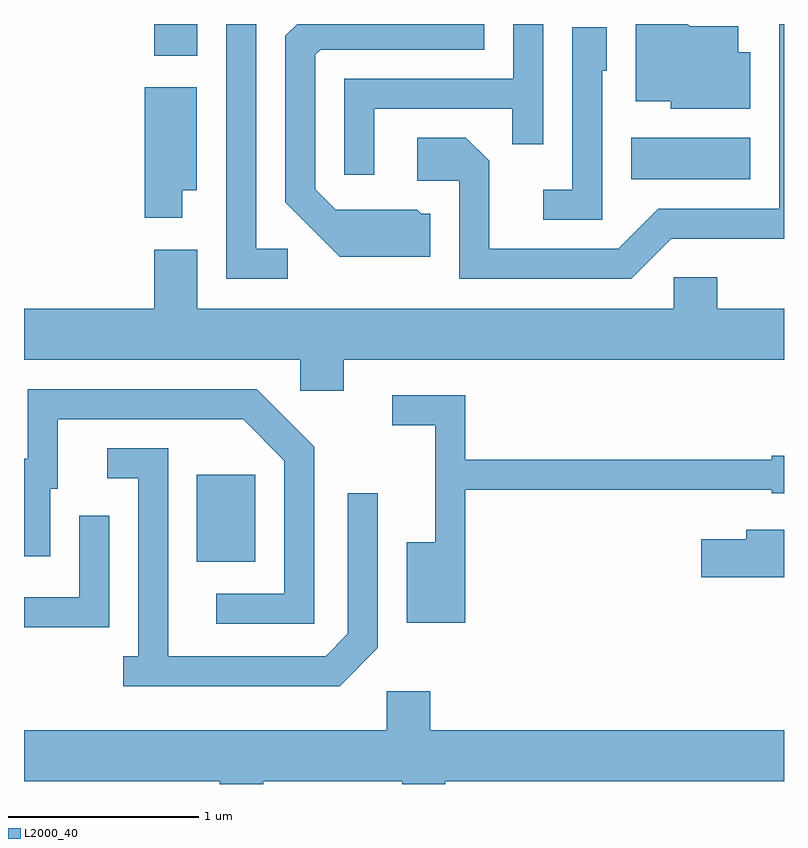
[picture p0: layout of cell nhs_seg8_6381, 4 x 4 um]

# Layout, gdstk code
import gdstk
lib = gdstk.Library(unit=1e-6, precision=1e-09)
def R(c, l, rs):  # rectangles x0, y0, x1, y1
    for r in rs: c.add(gdstk.rectangle(r[:2], r[2:], *l))
def P(c, l, *ps):  # polygons
    for p in ps: c.add(gdstk.Polygon(p, *l))
L2000_40 = (2000, 40)

nhs_seg8_6381 = lib.new_cell('nhs_seg8_6381')
R(nhs_seg8_6381, L2000_40, [(376.521,1897.511,376.829,1897.969), (378.806,1899.526,379.434,1899.744), (376.296,1900.176,376.524,1900.342)])
P(nhs_seg8_6381, L2000_40, [(377.749,1899.344),(377.702,1899.344),(377.682,1899.364),(377.252,1899.364),(377.144,1899.472),(377.144,1900.179),(377.172,1900.206),(378.034,1900.206),(378.034,1900.342),(377.05,1900.342),(376.986,1900.279),(376.986,1899.404),(377.274,1899.116),(377.749,1899.116)],
  [(376.998,1899.159),(376.834,1899.159),(376.834,1900.342),(376.676,1900.342),(376.676,1899.001),(376.998,1899.001)],
  [(377.454,1899.896),(378.181,1899.896),(378.181,1899.708),(378.344,1899.708),(378.344,1900.342),(378.186,1900.342),(378.186,1900.054),(377.296,1900.054),(377.296,1899.548),(377.454,1899.548)],
  [(379.434,1900.194),(379.369,1900.194),(379.369,1900.329),(379.117,1900.329),(379.104,1900.342),(378.831,1900.342),(378.831,1899.936),(379.016,1899.936),(379.016,1899.896),(379.434,1899.896)],
  [(379.017,1899.211),(379.611,1899.211),(379.611,1900.342),(379.586,1900.342),(379.586,1899.369),(378.949,1899.369),(378.739,1899.159),(378.059,1899.159),(378.059,1899.622),(377.937,1899.744),(377.681,1899.744),(377.681,1899.516),(377.901,1899.516),(377.901,1899.001),(378.807,1899.001)],
  [(378.654,1900.096),(378.679,1900.096),(378.679,1900.324),(378.496,1900.324),(378.496,1899.469),(378.343,1899.469),(378.343,1899.311),(378.654,1899.311)],
  [(376.444,1899.466),(376.519,1899.466),(376.519,1900.009),(376.246,1900.009),(376.246,1899.321),(376.444,1899.321)],
  [(377.294,1898.576),(379.611,1898.576),(379.611,1898.844),(379.259,1898.844),(379.259,1899.009),(379.031,1899.009),(379.031,1898.844),(376.524,1898.844),(376.524,1899.154),(376.296,1899.154),(376.296,1898.844),(375.611,1898.844),(375.611,1898.576),(377.066,1898.576),(377.066,1898.411),(377.294,1898.411)],
  [(377.139,1898.117),(376.837,1898.419),(375.631,1898.419),(375.631,1898.054),(375.611,1898.054),(375.611,1897.541),(375.749,1897.541),(375.749,1897.896),(375.789,1897.896),(375.789,1898.261),(376.764,1898.261),(376.981,1898.044),(376.981,1897.344),(376.623,1897.344),(376.623,1897.186),(377.139,1897.186)],
  [(377.934,1897.891),(379.546,1897.891),(379.546,1897.871),(379.611,1897.871),(379.611,1898.069),(379.546,1898.069),(379.546,1898.049),(377.934,1898.049),(377.934,1898.389),(377.548,1898.389),(377.548,1898.231),(377.776,1898.231),(377.776,1897.614),(377.626,1897.614),(377.626,1897.191),(377.934,1897.191)],
  [(377.474,1897.059),(377.474,1897.873),(377.316,1897.873),(377.316,1897.132),(377.199,1897.014),(376.369,1897.014),(376.369,1898.109),(376.048,1898.109),(376.048,1897.951),(376.211,1897.951),(376.211,1897.014),(376.133,1897.014),(376.133,1896.856),(377.272,1896.856)],
  [(376.059,1897.753),(375.901,1897.753),(375.901,1897.324),(375.611,1897.324),(375.611,1897.166),(376.059,1897.166)],
  [(379.611,1897.679),(379.411,1897.679),(379.411,1897.629),(379.176,1897.629),(379.176,1897.431),(379.611,1897.431)],
  [(376.869,1896.356),(377.601,1896.356),(377.601,1896.342),(377.829,1896.342),(377.829,1896.356),(379.611,1896.356),(379.611,1896.624),(377.749,1896.624),(377.749,1896.829),(377.521,1896.829),(377.521,1896.624),(375.611,1896.624),(375.611,1896.356),(376.641,1896.356),(376.641,1896.342),(376.869,1896.342)])

lib.write_gds('nhs_seg8_6381.gds')
